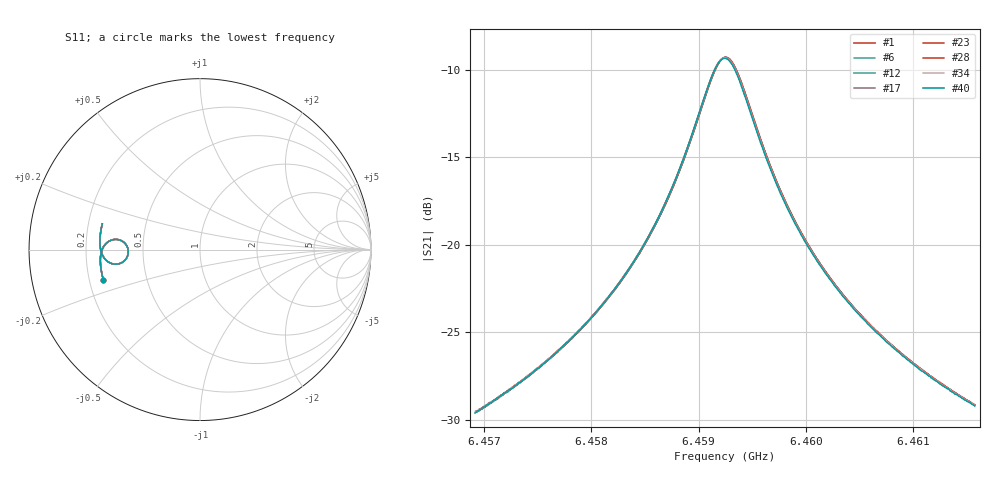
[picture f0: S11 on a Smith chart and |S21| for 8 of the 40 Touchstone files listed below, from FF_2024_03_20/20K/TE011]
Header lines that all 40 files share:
#  HZ  S  RI  R  50.00
! Rohde & Schwarz Vector Network Analyzer
! Rohde-Schwarz,ZNB20-2Port,1311601062101988,3.16
! freq[Hz]  re:S11  im:S11  re:S21  im:S21  re:S12  im:S12  re:S22  im:S22
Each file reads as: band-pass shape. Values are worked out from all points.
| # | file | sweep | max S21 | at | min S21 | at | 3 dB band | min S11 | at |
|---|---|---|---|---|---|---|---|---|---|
| 1 | 240_1_16.9993_20.0309963_63668.953_649.9692575931549_.s2p | 6.456933 GHz to 6.461577 GHz | -9.29 dB | 6.459255 GHz | -29.5 dB | 6.456933 GHz | 6.459034 GHz-6.459476 GHz | -7.5 dB | 6.459255 GHz |
| 2 | 241_1_17.0014_20.0274124_63899.957_652.3915712833405_.s2p | 6.456935 GHz to 6.461575 GHz | -9.29 dB | 6.459255 GHz | -29.5 dB | 6.456935 GHz | 6.459023 GHz-6.459475 GHz | -7.6 dB | 6.459255 GHz |
| 3 | 242_1_17.0002_20.0229797_64141.441_654.8087871074677_.s2p | 6.456932 GHz to 6.461577 GHz | -9.29 dB | 6.459254 GHz | -29.5 dB | 6.456932 GHz | 6.459022 GHz-6.459475 GHz | -7.5 dB | 6.459254 GHz |
| 4 | 243_1_16.9993_20.0204086_64393.098_657.2416508197784_.s2p | 6.456933 GHz to 6.461576 GHz | -9.30 dB | 6.459254 GHz | -29.6 dB | 6.456933 GHz | 6.459022 GHz-6.459475 GHz | -7.5 dB | 6.459254 GHz |
| 5 | 244_1_16.9999_20.0177288_64634.887_659.6731922626495_.s2p | 6.456931 GHz to 6.461578 GHz | -9.29 dB | 6.459254 GHz | -29.5 dB | 6.456931 GHz | 6.459022 GHz-6.459475 GHz | -7.5 dB | 6.459254 GHz |
| 6 | 245_1_16.9995_20.0150242_64866.773_662.0928573608398_.s2p | 6.456932 GHz to 6.461576 GHz | -9.30 dB | 6.459254 GHz | -29.5 dB | 6.456932 GHz | 6.459022 GHz-6.459486 GHz | -7.5 dB | 6.459254 GHz |
| 7 | 246_1_17.0003_20.0108929_65098.82_664.4930062294006_.s2p | 6.456928 GHz to 6.46158 GHz | -9.30 dB | 6.459254 GHz | -29.5 dB | 6.456928 GHz | 6.459033 GHz-6.459475 GHz | -7.5 dB | 6.459254 GHz |
| 8 | 247_1_17.0001_20.0098171_65360.789_666.9175915718079_.s2p | 6.45693 GHz to 6.461577 GHz | -9.29 dB | 6.459254 GHz | -29.6 dB | 6.45693 GHz | 6.459021 GHz-6.459474 GHz | -7.5 dB | 6.459254 GHz |
| 9 | 248_1_17.0003_20.0050297_65612.453_669.3327925205231_.s2p | 6.45693 GHz to 6.461576 GHz | -9.30 dB | 6.459253 GHz | -29.6 dB | 6.45693 GHz | 6.459021 GHz-6.459474 GHz | -7.5 dB | 6.459253 GHz |
| 10 | 249_1_16.9999_20.0020866_65854.227_671.7763185501099_.s2p | 6.456928 GHz to 6.461578 GHz | -9.29 dB | 6.459253 GHz | -29.5 dB | 6.456928 GHz | 6.459032 GHz-6.459474 GHz | -7.5 dB | 6.459253 GHz |
| 11 | 250_1_17.0004_19.9983444_66086.25_674.2236521244049_.s2p | 6.45693 GHz to 6.461576 GHz | -9.30 dB | 6.459253 GHz | -29.5 dB | 6.45693 GHz | 6.459021 GHz-6.459474 GHz | -7.5 dB | 6.459253 GHz |
| 12 | 251_1_17.0003_19.9956417_66338.141_676.6499440670013_.s2p | 6.456928 GHz to 6.461577 GHz | -9.30 dB | 6.459253 GHz | -29.5 dB | 6.456928 GHz | 6.45902 GHz-6.459485 GHz | -7.5 dB | 6.459253 GHz |
| 13 | 252_1_17.0004_19.9923592_66590.211_679.0666215419769_.s2p | 6.456927 GHz to 6.461578 GHz | -9.30 dB | 6.459253 GHz | -29.6 dB | 6.456927 GHz | 6.459032 GHz-6.459473 GHz | -7.5 dB | 6.459253 GHz |
| 14 | 253_1_17.0008_19.9876137_66821.922_681.4959948062897_.s2p | 6.45693 GHz to 6.461575 GHz | -9.30 dB | 6.459252 GHz | -29.5 dB | 6.45693 GHz | 6.45902 GHz-6.459473 GHz | -7.5 dB | 6.459252 GHz |
| 15 | 254_1_17.0002_19.9848518_67073.758_683.9101369380951_.s2p | 6.456928 GHz to 6.461576 GHz | -9.30 dB | 6.459252 GHz | -29.5 dB | 6.456928 GHz | 6.459031 GHz-6.459473 GHz | -7.5 dB | 6.459252 GHz |
| 16 | 255_1_17.0006_19.9826069_67345.961_686.347825050354_.s2p | 6.456929 GHz to 6.461575 GHz | -9.30 dB | 6.459252 GHz | -29.5 dB | 6.456929 GHz | 6.45902 GHz-6.459473 GHz | -7.5 dB | 6.459252 GHz |
| 17 | 256_1_17.001_19.9788685_68182.344_694.5935726165771_.s2p | 6.456926 GHz to 6.461577 GHz | -9.30 dB | 6.459252 GHz | -29.5 dB | 6.456926 GHz | 6.459019 GHz-6.459473 GHz | -7.5 dB | 6.459252 GHz |
| 18 | 257_1_16.9981_19.9720192_68384.164_697.0810723304749_.s2p | 6.456925 GHz to 6.461577 GHz | -9.30 dB | 6.459251 GHz | -29.6 dB | 6.456925 GHz | 6.45903 GHz-6.459472 GHz | -7.5 dB | 6.459251 GHz |
| 19 | 258_1_17.0002_19.9697762_68656.492_699.4998145103455_.s2p | 6.456927 GHz to 6.461575 GHz | -9.30 dB | 6.459251 GHz | -29.5 dB | 6.456927 GHz | 6.459018 GHz-6.459483 GHz | -7.5 dB | 6.459251 GHz |
| 20 | 259_1_17.0006_19.9667225_68898.375_701.9449412822723_.s2p | 6.456923 GHz to 6.461578 GHz | -9.30 dB | 6.459251 GHz | -29.6 dB | 6.456923 GHz | 6.459018 GHz-6.459472 GHz | -7.5 dB | 6.459251 GHz |
| 21 | 260_1_17.0011_19.9628277_69139.742_704.3672072887421_.s2p | 6.456924 GHz to 6.461577 GHz | -9.30 dB | 6.459251 GHz | -29.5 dB | 6.456924 GHz | 6.459018 GHz-6.459472 GHz | -7.5 dB | 6.459251 GHz |
| 22 | 261_1_16.9986_19.9586926_69391.852_706.8105947971344_.s2p | 6.456922 GHz to 6.461578 GHz | -9.30 dB | 6.45925 GHz | -29.6 dB | 6.456922 GHz | 6.459018 GHz-6.459471 GHz | -7.5 dB | 6.45925 GHz |
| 23 | 262_1_16.9998_19.9547958_69633.75_709.2357470989227_.s2p | 6.456922 GHz to 6.461578 GHz | -9.30 dB | 6.45925 GHz | -29.5 dB | 6.456922 GHz | 6.459017 GHz-6.459471 GHz | -7.5 dB | 6.45925 GHz |
| 24 | 263_1_17.0001_19.9523277_69875.523_711.6800260543823_.s2p | 6.456923 GHz to 6.461576 GHz | -9.30 dB | 6.45925 GHz | -29.5 dB | 6.456923 GHz | 6.459017 GHz-6.459471 GHz | -7.5 dB | 6.45925 GHz |
| 25 | 264_1_17.0007_19.9492779_70147.641_714.1021549701691_.s2p | 6.456921 GHz to 6.461578 GHz | -9.31 dB | 6.45925 GHz | -29.5 dB | 6.456921 GHz | 6.459028 GHz-6.459471 GHz | -7.5 dB | 6.45925 GHz |
| 26 | 265_1_16.9995_19.9465199_70349.273_716.5237348079681_.s2p | 6.456922 GHz to 6.461577 GHz | -9.30 dB | 6.459249 GHz | -29.5 dB | 6.456922 GHz | 6.459017 GHz-6.459471 GHz | -7.5 dB | 6.459249 GHz |
| 27 | 266_1_16.9987_19.9453487_70600.938_718.9330561161041_.s2p | 6.45692 GHz to 6.461578 GHz | -9.31 dB | 6.459249 GHz | -29.5 dB | 6.45692 GHz | 6.459028 GHz-6.45947 GHz | -7.5 dB | 6.459249 GHz |
| 28 | 267_1_16.9997_19.9409351_70852.961_721.3746473789215_.s2p | 6.456923 GHz to 6.461575 GHz | -9.31 dB | 6.459249 GHz | -29.5 dB | 6.456923 GHz | 6.459016 GHz-6.45947 GHz | -7.5 dB | 6.459249 GHz |
| 29 | 268_1_16.9999_19.9385052_71094.891_723.803308725357_.s2p | 6.456921 GHz to 6.461576 GHz | -9.31 dB | 6.459249 GHz | -29.6 dB | 6.456921 GHz | 6.459028 GHz-6.45947 GHz | -7.5 dB | 6.459249 GHz |
| 30 | 269_1_17.001_19.9357128_71346.625_726.2138068675995_.s2p | 6.456923 GHz to 6.461574 GHz | -9.31 dB | 6.459249 GHz | -29.5 dB | 6.456923 GHz | 6.459016 GHz-6.459481 GHz | -7.5 dB | 6.459249 GHz |
| 31 | 270_1_17.0006_19.9328575_71588.641_728.6356492042542_.s2p | 6.456919 GHz to 6.461578 GHz | -9.31 dB | 6.459248 GHz | -29.5 dB | 6.456919 GHz | 6.459016 GHz-6.45947 GHz | -7.5 dB | 6.459248 GHz |
| 32 | 271_1_16.9999_19.9301281_71840.414_731.0566804409027_.s2p | 6.456919 GHz to 6.461578 GHz | -9.31 dB | 6.459248 GHz | -29.5 dB | 6.456919 GHz | 6.459015 GHz-6.45947 GHz | -7.5 dB | 6.459248 GHz |
| 33 | 272_1_17.002_19.9276314_72072.32_733.4782538414001_.s2p | 6.456918 GHz to 6.461578 GHz | -9.31 dB | 6.459248 GHz | -29.6 dB | 6.456918 GHz | 6.459015 GHz-6.45947 GHz | -7.5 dB | 6.459248 GHz |
| 34 | 273_1_17.0002_19.9244862_72313.945_735.891857624054_.s2p | 6.456918 GHz to 6.461578 GHz | -9.31 dB | 6.459248 GHz | -29.6 dB | 6.456918 GHz | 6.459015 GHz-6.459469 GHz | -7.5 dB | 6.459248 GHz |
| 35 | 274_1_17.001_19.9217968_72555.906_738.2832260131836_.s2p | 6.456919 GHz to 6.461577 GHz | -9.32 dB | 6.459248 GHz | -29.6 dB | 6.456919 GHz | 6.459015 GHz-6.459469 GHz | -7.5 dB | 6.459248 GHz |
| 36 | 275_1_16.9997_19.9184284_72798.094_740.7048647403717_.s2p | 6.456917 GHz to 6.461578 GHz | -9.32 dB | 6.459248 GHz | -29.6 dB | 6.456917 GHz | 6.459015 GHz-6.459469 GHz | -7.5 dB | 6.459248 GHz |
| 37 | 276_1_17.0004_19.9149685_73040.164_743.1164286136627_.s2p | 6.456919 GHz to 6.461576 GHz | -9.32 dB | 6.459247 GHz | -29.6 dB | 6.456919 GHz | 6.459014 GHz-6.459468 GHz | -7.5 dB | 6.459247 GHz |
| 38 | 277_1_16.9981_19.9120846_73292.156_745.5372426509857_.s2p | 6.456917 GHz to 6.461577 GHz | -9.32 dB | 6.459247 GHz | -29.5 dB | 6.456917 GHz | 6.459014 GHz-6.459468 GHz | -7.5 dB | 6.459247 GHz |
| 39 | 278_1_17.0006_19.9108219_73543.875_747.972482919693_.s2p | 6.456917 GHz to 6.461576 GHz | -9.32 dB | 6.459247 GHz | -29.6 dB | 6.456929 GHz | 6.459014 GHz-6.459468 GHz | -7.5 dB | 6.459247 GHz |
| 40 | 279_1_17.002_19.8995342_74390.586_756.5462968349457_.s2p | 6.456916 GHz to 6.461576 GHz | -9.35 dB | 6.459246 GHz | -29.6 dB | 6.456916 GHz | 6.459013 GHz-6.459467 GHz | -7.5 dB | 6.459246 GHz |
